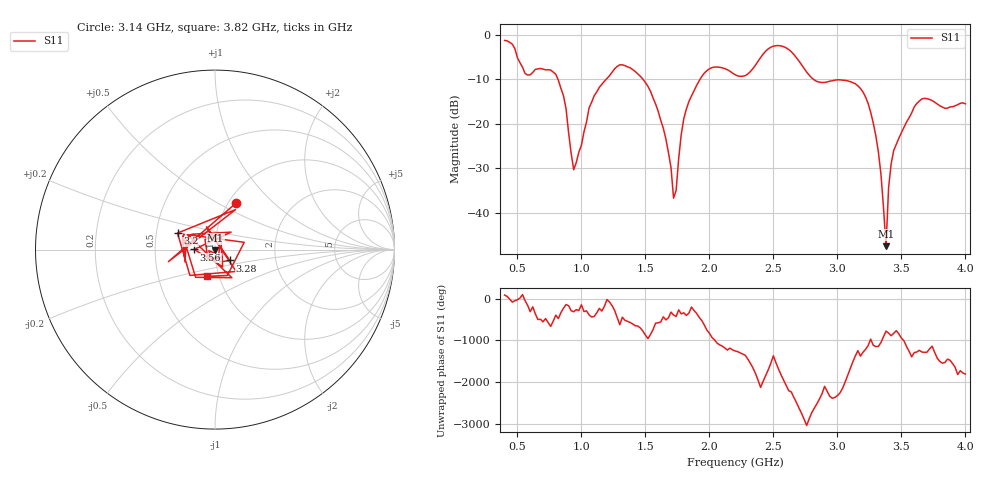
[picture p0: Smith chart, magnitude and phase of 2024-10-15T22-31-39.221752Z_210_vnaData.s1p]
! Created with skrf (http://scikit-rf.org).
# Hz S RI R 50.0
!freq ReS11 ImS11
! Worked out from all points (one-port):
!   181 points, 400 MHz to 4 GHz, reference 50 ohm
!   lowest |S11| = -47.6 dB at 3.38 GHz (marker M1), VSWR 1.01, Z = 50.2 - j0.354 ohm
!   |S11| at or under -10 dB: 817.2 MHz to 1.193 GHz (375.5 MHz wide, 37.4 % of centre); 1.482 GHz to 1.926 GHz (444.2 MHz wide, 26.1 % of centre); 2.815 GHz to end of sweep
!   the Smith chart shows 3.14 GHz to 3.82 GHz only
!   S11 on the Smith chart (normalised r, x): 3.14 GHz: 1.08, +0.61; 3.2 GHz: 0.64, +0.13; 3.28 GHz: 1.17, -0.14; 3.56 GHz: 0.79, +0.00; 3.82 GHz: 0.88, -0.27
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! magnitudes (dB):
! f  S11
! 400 MHz  -1.2
! 800 MHz  -8.9
! 860 MHz  -13.7
! 940 MHz  -30.3
! 1.1 GHz  -13.7
! 1.3 GHz  -6.7
! 1.54 GHz  -12.7
! 1.66 GHz  -23.4
! 1.72 GHz  -36.8
! 1.76 GHz  -27.8
! 1.82 GHz  -16.7
! 1.94 GHz  -9.4
! 2.2 GHz  -8.9
! 2.5 GHz  -2.5
! 2.66 GHz  -4.4
! 2.84 GHz  -10.5
! 3.1 GHz  -10.5
! 3.14 GHz  -11.0
! 3.2 GHz  -12.8
! 3.28 GHz  -19.8
! 3.34 GHz  -31.3
! 3.38 GHz  -47.6
! 3.4 GHz  -34.4
! 3.42 GHz  -29.0
! 3.56 GHz  -18.6
! 3.66 GHz  -14.4
! 3.82 GHz  -16.2
! 4 GHz  -15.5
